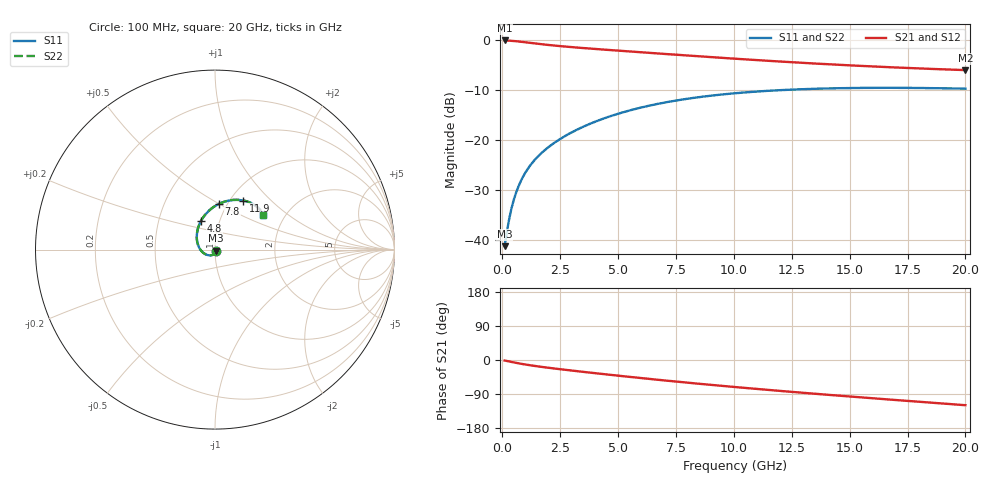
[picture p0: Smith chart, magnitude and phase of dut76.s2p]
! Touchstone file exported from HFSS 2023.1.0
!  File:  D:/Users/fzz/RDL_TSV/temp_RDL_TSV_76_1778747271.aedt
!  Generated:  4:36:11 %x4E0B%x5348  5%x6708 14, 2026
!  Design:  RDL_TSV
!  Project:  temp_RDL_TSV_76_1778747271
!  Setup:  Setup1
!  Solution:  Sweep
! Variables:
!  dtsv = 19.3um
!  hbump = 3um
!  htsv = 53.8um
!  ldown = 131.14um
!  lrdl = 261.73um
!  p = 40
!  p1 = 56.07um
!  rhole = 10um
!  subl = 1440.34um
!  t = 450um
!  tdown = 3.97um
!  trdl = 4.08um
!  viad = 10um
!  wdown = 18.02um
!  wrdl = 18.65um
!  xbump = 18um
# GHz S MA R 50.000000
! Terminal data exported
! Port[1] = TM1_1_T1
! Port[2] = TM1_4_T1
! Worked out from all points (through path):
!   200 points, 100 MHz to 20 GHz, reference 50 ohm
!   highest |S21| = -0.07 dB at 100 MHz (marker M1); lowest = -6.0 dB at 20 GHz (marker M2)
!   group delay of S21, straight-line fit = 15.6 ps
!   lowest |S11| = -41.1 dB at 100 MHz (marker M3), VSWR 1.02, Z = 50.7 - j0.559 ohm
!   |S11| at or under -10 dB: start of sweep to 11.97 GHz
!   |S22| runs from -41.1 to -9.5 dB; largest |S21 - S12| = 4.6e-14
!   S11 on the Smith chart (normalised r, x): 100 MHz: 1.01, -0.01; 4.8 GHz: 0.82, +0.27; 7.8 GHz: 0.92, +0.50; 11.9 GHz: 1.15, +0.70; 20 GHz: 1.55, +0.67
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0.1  0.008763 -39.0  0.992 -1.3  0.992 -1.3  0.008763 -39.0
! Gamma 0 0 0 0
! Port Impedance 50 0 50 0
0.2  0.01223 -64.2  0.9901 -2.7  0.9901 -2.7  0.01223 -64.2
0.3  0.01649 -80.5  0.9873 -3.9  0.9873 -3.9  0.01649 -80.6
0.4  0.02102 -92.7  0.9836 -5.2  0.9836 -5.2  0.02102 -92.7
0.5  0.02562 -102.6  0.9793 -6.4  0.9793 -6.4  0.02562 -102.6
0.6  0.0302 -111.2  0.9744 -7.6  0.9744 -7.6  0.0302 -111.2
0.8  0.03913 -126.0  0.9632 -9.8  0.9632 -9.8  0.03913 -126.0
1.1  0.05179 -144.3  0.9449 -12.9  0.9449 -12.9  0.05181 -144.4
1.5  0.06743 -164.2  0.9208 -16.6  0.9208 -16.6  0.06747 -164.3
2  0.08564 176.0  0.8939 -20.6  0.8939 -20.6  0.08572 176.0
2.7  0.1099 155.0  0.8626 -25.8  0.8626 -25.8  0.11 155.0
3.5  0.1366 137.1  0.8329 -31.3  0.8329 -31.3  0.1369 137.0
4.8  0.1779 115.9  0.7911 -40.0  0.7911 -40.0  0.1783 115.9
5.8  0.207 103.6  0.7616 -46.5  0.7616 -46.5  0.2075 103.6
6.8  0.233 93.5  0.7336 -52.7  0.7336 -52.7  0.2336 93.5
7.8  0.2557 84.9  0.7068 -58.7  0.7068 -58.7  0.2564 84.9
8.9  0.2768 76.9  0.6791 -65.0  0.6791 -65.0  0.2777 76.9
10.1  0.2955 69.3  0.6509 -71.6  0.6509 -71.6  0.2964 69.3
11.9  0.3156 59.9  0.613 -81.1  0.613 -81.1  0.3166 59.9
13.4  0.3262 53.4  0.5854 -88.6  0.5854 -88.6  0.3273 53.5
16.7  0.334 42.7  0.5366 -104.3  0.5366 -104.3  0.3352 42.8
20  0.3275 36.0  0.5017 -119.3  0.5017 -119.3  0.3287 36.1
